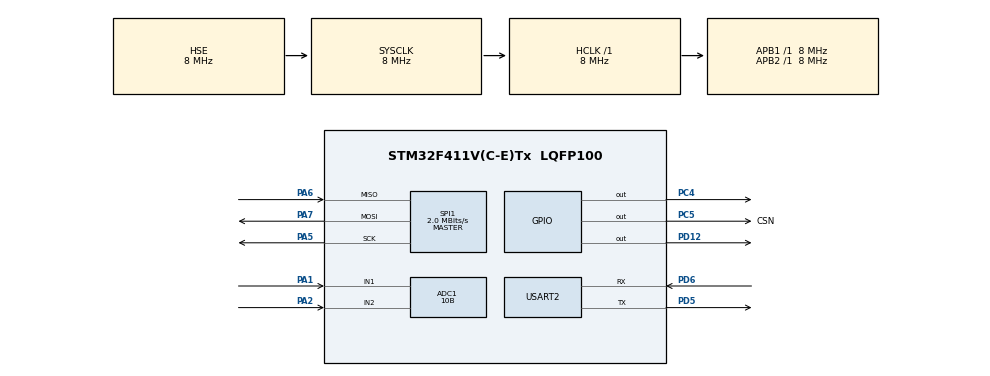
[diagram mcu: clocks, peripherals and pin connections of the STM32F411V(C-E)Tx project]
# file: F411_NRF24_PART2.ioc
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ADC1.Channel-1\#ChannelRegularConversion=ADC_CHANNEL_1
ADC1.Channel-2\#ChannelRegularConversion=ADC_CHANNEL_2
ADC1.ContinuousConvMode=ENABLE
ADC1.DMAContinuousRequests=ENABLE
ADC1.NbrOfConversion=2
ADC1.NbrOfConversionFlag=1
ADC1.Rank-1\#ChannelRegularConversion=1
ADC1.Rank-2\#ChannelRegularConversion=2
ADC1.Resolution=ADC_RESOLUTION_10B
ADC1.SamplingTime-1\#ChannelRegularConversion=ADC_SAMPLETIME_480CYCLES
ADC1.SamplingTime-2\#ChannelRegularConversion=ADC_SAMPLETIME_480CYCLES
ADC1.ScanConvMode=ENABLE
ADC1.master=1
Dma.ADC1.0.Direction=DMA_PERIPH_TO_MEMORY
Dma.ADC1.0.FIFOMode=DMA_FIFOMODE_DISABLE
Dma.ADC1.0.Instance=DMA2_Stream0
Dma.ADC1.0.MemDataAlignment=DMA_MDATAALIGN_HALFWORD
Dma.ADC1.0.MemInc=DMA_MINC_ENABLE
Dma.ADC1.0.Mode=DMA_CIRCULAR
Dma.ADC1.0.PeriphDataAlignment=DMA_PDATAALIGN_HALFWORD
Dma.ADC1.0.PeriphInc=DMA_PINC_DISABLE
Dma.ADC1.0.Priority=DMA_PRIORITY_LOW
Dma.Request0=ADC1
Mcu.Family=STM32F4
Mcu.Name=STM32F411V(C-E)Tx
Mcu.Package=LQFP100
NVIC.DMA2_Stream0_IRQn=true\:0\:0\:false\:false\:true\:false\:true
NVIC.PriorityGroup=NVIC_PRIORITYGROUP_4
PA1.Signal=ADCx_IN1
PA13.Mode=Serial_Wire
PA13.Signal=SYS_JTMS-SWDIO
PA14.Mode=Serial_Wire
PA14.Signal=SYS_JTCK-SWCLK
PA2.Signal=ADCx_IN2
PA5.Mode=Full_Duplex_Master
PA5.Signal=SPI1_SCK
PA6.Mode=Full_Duplex_Master
PA6.Signal=SPI1_MISO
PA7.Mode=Full_Duplex_Master
PA7.Signal=SPI1_MOSI
PC4.Signal=GPIO_Output
PC5.GPIO_Label=CSN
PC5.Signal=GPIO_Output
PD12.Signal=GPIO_Output
PD5.Mode=Asynchronous
PD5.Signal=USART2_TX
PD6.Mode=Asynchronous
PD6.Signal=USART2_RX
PH0\ -\ OSC_IN.Mode=HSE-External-Oscillator
PH0\ -\ OSC_IN.Signal=RCC_OSC_IN
PH1\ -\ OSC_OUT.Mode=HSE-External-Oscillator
PH1\ -\ OSC_OUT.Signal=RCC_OSC_OUT
ProjectManager.HeapSize=0x200
ProjectManager.StackSize=0x400
ProjectManager.TargetToolchain=STM32CubeIDE
RCC.AHBFreq_Value=8000000
RCC.APB1Freq_Value=8000000
RCC.APB1TimFreq_Value=8000000
RCC.APB2Freq_Value=8000000
RCC.APB2TimFreq_Value=8000000
RCC.CortexFreq_Value=8000000
RCC.HCLKFreq_Value=8000000
RCC.HSE_VALUE=8000000
RCC.HSI_VALUE=16000000
RCC.LSE_VALUE=32768
RCC.SYSCLKFreq_VALUE=8000000
RCC.SYSCLKSource=RCC_SYSCLKSOURCE_HSE
RCC.VCOOutputFreq_Value=192000000
SH.ADCx_IN1.0=ADC1_IN1,IN1
SH.ADCx_IN2.0=ADC1_IN2,IN2
SPI1.BaudRatePrescaler=SPI_BAUDRATEPRESCALER_4
SPI1.CalculateBaudRate=2.0 MBits/s
SPI1.Direction=SPI_DIRECTION_2LINES
SPI1.Mode=SPI_MODE_MASTER
SPI1.VirtualType=VM_MASTER
USART2.VirtualMode=VM_ASYNC
board=custom

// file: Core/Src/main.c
/* USER CODE BEGIN Header */
/**
  ******************************************************************************
  * @file           : main.c
  * @brief          : Main program body
  ******************************************************************************
  * @attention
  *
  * Copyright (c) 2022 STMicroelectronics.
  * All rights reserved.
  *
  * This software is licensed under terms that can be found in the LICENSE file
  * in the root directory of this software component.
  * If no LICENSE file comes with this software, it is provided AS-IS.
  *
  ******************************************************************************
  */
/* USER CODE END Header */
#include "main.h"

/* USER CODE BEGIN Includes */
#include "MY_NRF24.h"
/* USER CODE END Includes */

/* USER CODE BEGIN PM */
uint64_t TxpipeAddrs = 0x11223344AA;
char myTxData[32];
char AckPayload[32];
uint16_t adc_value[2];
/* USER CODE END PM */

ADC_HandleTypeDef hadc1;
DMA_HandleTypeDef hdma_adc1;

SPI_HandleTypeDef hspi1;

UART_HandleTypeDef huart2;

void SystemClock_Config(void);
static void MX_GPIO_Init(void);
static void MX_SPI1_Init(void);
static void MX_DMA_Init(void);
static void MX_ADC1_Init(void);
static void MX_USART2_UART_Init(void);

int main(void)
{

  /* MCU Configuration--------------------------------------------------------*/

  /* Reset of all peripherals, Initializes the Flash interface and the Systick. */
  HAL_Init();

  /* Configure the system clock */
  SystemClock_Config();

  /* Initialize all configured peripherals */
  MX_GPIO_Init();
  MX_SPI1_Init();
  MX_DMA_Init();
  MX_ADC1_Init();
  MX_USART2_UART_Init();
  /* USER CODE BEGIN 2 */

	NRF24_begin(GPIOC, nrf_CSN_PIN, nrf_CE_PIN, hspi1);
	nrf24_DebugUART_Init(huart2);

	printRadioSettings();

	//**** TRANSMIT - ACK ****//
	NRF24_stopListening();
	NRF24_openWritingPipe(TxpipeAddrs);
	NRF24_setAutoAck(true);
	NRF24_setChannel(52);
	NRF24_setPayloadSize(4);
	HAL_ADC_Start_DMA(&hadc1, (uint32_t *)adc_value, 2);
	//NRF24_enableDynamicPayloads();
	//NRF24_enableAckPayload();
  /* USER CODE END 2 */

  /* Infinite loop */
  /* USER CODE BEGIN WHILE */
  while (1)
  {
		if(NRF24_write(adc_value, 4))
		{
			HAL_UART_Transmit(&huart2, (uint8_t *)"Transmitted Successfully\r\n", strlen("Transmitted Successfully\r\n"), 10);

		}
		HAL_Delay(20);
    /* USER CODE END WHILE */

  }
}

void SystemClock_Config(void)
{
  RCC_OscInitTypeDef RCC_OscInitStruct = {0};
  RCC_ClkInitTypeDef RCC_ClkInitStruct = {0};

  /** Configure the main internal regulator output voltage
  */
  __HAL_RCC_PWR_CLK_ENABLE();
  __HAL_PWR_VOLTAGESCALING_CONFIG(PWR_REGULATOR_VOLTAGE_SCALE1);
  /** Initializes the RCC Oscillators according to the specified parameters
  * in the RCC_OscInitTypeDef structure.
  */
  RCC_OscInitStruct.OscillatorType = RCC_OSCILLATORTYPE_HSE;
  RCC_OscInitStruct.HSEState = RCC_HSE_ON;
  RCC_OscInitStruct.PLL.PLLState = RCC_PLL_NONE;
  if (HAL_RCC_OscConfig(&RCC_OscInitStruct) != HAL_OK)
  {
    Error_Handler();
  }
  /** Initializes the CPU, AHB and APB buses clocks
  */
  RCC_ClkInitStruct.ClockType = RCC_CLOCKTYPE_HCLK|RCC_CLOCKTYPE_SYSCLK
                              |RCC_CLOCKTYPE_PCLK1|RCC_CLOCKTYPE_PCLK2;
  RCC_ClkInitStruct.SYSCLKSource = RCC_SYSCLKSOURCE_HSE;
  RCC_ClkInitStruct.AHBCLKDivider = RCC_SYSCLK_DIV1;
  RCC_ClkInitStruct.APB1CLKDivider = RCC_HCLK_DIV1;
  RCC_ClkInitStruct.APB2CLKDivider = RCC_HCLK_DIV1;

  if (HAL_RCC_ClockConfig(&RCC_ClkInitStruct, FLASH_LATENCY_0) != HAL_OK)
  {
    Error_Handler();
  }
}

static void MX_ADC1_Init(void)
{

  ADC_ChannelConfTypeDef sConfig = {0};

  /** Configure the global features of the ADC (Clock, Resolution, Data Alignment and number of conversion)
  */
  hadc1.Instance = ADC1;
  hadc1.Init.ClockPrescaler = ADC_CLOCK_SYNC_PCLK_DIV2;
  hadc1.Init.Resolution = ADC_RESOLUTION_10B;
  hadc1.Init.ScanConvMode = ENABLE;
  hadc1.Init.ContinuousConvMode = ENABLE;
  hadc1.Init.DiscontinuousConvMode = DISABLE;
  hadc1.Init.ExternalTrigConvEdge = ADC_EXTERNALTRIGCONVEDGE_NONE;
  hadc1.Init.ExternalTrigConv = ADC_SOFTWARE_START;
  hadc1.Init.DataAlign = ADC_DATAALIGN_RIGHT;
  hadc1.Init.NbrOfConversion = 2;
  hadc1.Init.DMAContinuousRequests = ENABLE;
  hadc1.Init.EOCSelection = ADC_EOC_SINGLE_CONV;
  if (HAL_ADC_Init(&hadc1) != HAL_OK)
  {
    Error_Handler();
  }
  /** Configure for the selected ADC regular channel its corresponding rank in the sequencer and its sample time.
  */
  sConfig.Channel = ADC_CHANNEL_1;
  sConfig.Rank = 1;
  sConfig.SamplingTime = ADC_SAMPLETIME_480CYCLES;
  if (HAL_ADC_ConfigChannel(&hadc1, &sConfig) != HAL_OK)
  {
    Error_Handler();
  }
  /** Configure for the selected ADC regular channel its corresponding rank in the sequencer and its sample time.
  */
  sConfig.Channel = ADC_CHANNEL_2;
  sConfig.Rank = 2;
  if (HAL_ADC_ConfigChannel(&hadc1, &sConfig) != HAL_OK)
  {
    Error_Handler();
  }

}

static void MX_SPI1_Init(void)
{

  /* SPI1 parameter configuration*/
  hspi1.Instance = SPI1;
  hspi1.Init.Mode = SPI_MODE_MASTER;
  hspi1.Init.Direction = SPI_DIRECTION_2LINES;
  hspi1.Init.DataSize = SPI_DATASIZE_8BIT;
  hspi1.Init.CLKPolarity = SPI_POLARITY_LOW;
  hspi1.Init.CLKPhase = SPI_PHASE_1EDGE;
  hspi1.Init.NSS = SPI_NSS_SOFT;
  hspi1.Init.BaudRatePrescaler = SPI_BAUDRATEPRESCALER_4;
  hspi1.Init.FirstBit = SPI_FIRSTBIT_MSB;
  hspi1.Init.TIMode = SPI_TIMODE_DISABLE;
  hspi1.Init.CRCCalculation = SPI_CRCCALCULATION_DISABLE;
  hspi1.Init.CRCPolynomial = 10;
  if (HAL_SPI_Init(&hspi1) != HAL_OK)
  {
    Error_Handler();
  }

}

static void MX_USART2_UART_Init(void)
{

  huart2.Instance = USART2;
  huart2.Init.BaudRate = 115200;
  huart2.Init.WordLength = UART_WORDLENGTH_8B;
  huart2.Init.StopBits = UART_STOPBITS_1;
  huart2.Init.Parity = UART_PARITY_NONE;
  huart2.Init.Mode = UART_MODE_TX_RX;
  huart2.Init.HwFlowCtl = UART_HWCONTROL_NONE;
  huart2.Init.OverSampling = UART_OVERSAMPLING_16;
  if (HAL_UART_Init(&huart2) != HAL_OK)
  {
    Error_Handler();
  }

}

static void MX_DMA_Init(void)
{

  /* DMA controller clock enable */
  __HAL_RCC_DMA2_CLK_ENABLE();

  /* DMA interrupt init */
  /* DMA2_Stream0_IRQn interrupt configuration */
  HAL_NVIC_SetPriority(DMA2_Stream0_IRQn, 0, 0);
  HAL_NVIC_EnableIRQ(DMA2_Stream0_IRQn);

}

static void MX_GPIO_Init(void)
{
  GPIO_InitTypeDef GPIO_InitStruct = {0};

  /* GPIO Ports Clock Enable */
  __HAL_RCC_GPIOH_CLK_ENABLE();
  __HAL_RCC_GPIOA_CLK_ENABLE();
  __HAL_RCC_GPIOC_CLK_ENABLE();
  __HAL_RCC_GPIOD_CLK_ENABLE();

  /*Configure GPIO pin Output Level */
  HAL_GPIO_WritePin(GPIOC, GPIO_PIN_4|CSN_Pin, GPIO_PIN_RESET);

  /*Configure GPIO pin Output Level */
  HAL_GPIO_WritePin(GPIOD, GPIO_PIN_12, GPIO_PIN_RESET);

  /*Configure GPIO pins : PC4 CSN_Pin */
  GPIO_InitStruct.Pin = GPIO_PIN_4|CSN_Pin;
  GPIO_InitStruct.Mode = GPIO_MODE_OUTPUT_PP;
  GPIO_InitStruct.Pull = GPIO_NOPULL;
  GPIO_InitStruct.Speed = GPIO_SPEED_FREQ_LOW;
  HAL_GPIO_Init(GPIOC, &GPIO_InitStruct);

  /*Configure GPIO pin : PD12 */
  GPIO_InitStruct.Pin = GPIO_PIN_12;
  GPIO_InitStruct.Mode = GPIO_MODE_OUTPUT_PP;
  GPIO_InitStruct.Pull = GPIO_NOPULL;
  GPIO_InitStruct.Speed = GPIO_SPEED_FREQ_LOW;
  HAL_GPIO_Init(GPIOD, &GPIO_InitStruct);

}

void Error_Handler(void)
{
  __disable_irq();
  while (1)
  {
  }
}
